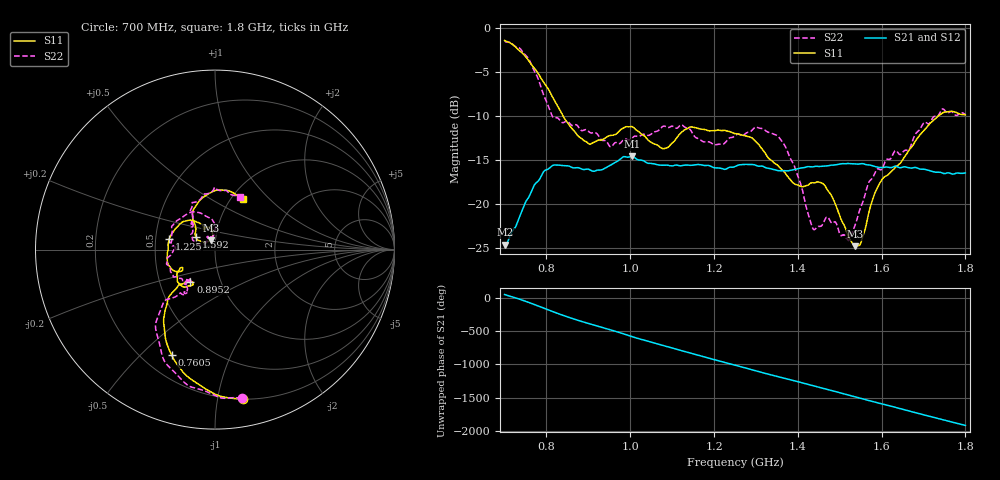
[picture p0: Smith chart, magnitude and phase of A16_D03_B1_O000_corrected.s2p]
! Created with skrf 1.9.0 (http://scikit-rf.org).
# Hz S RI R 50.0
!freq ReS11 ImS11 ReS21 ImS21 ReS12 ImS12 ReS22 ImS22
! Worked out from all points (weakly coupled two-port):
!   1601 points, 700 MHz to 1.8 GHz, reference 50 ohm
!   highest |S21| = -14.57 dB at 1.005 GHz (marker M1); lowest = -24.6 dB at 701.4 MHz (marker M2)
!   lowest |S11| = -24.8 dB at 1.537 GHz (marker M3), VSWR 1.12, Z = 47.4 + j4.99 ohm
!   |S11| at or under -10 dB: 839.6 MHz to 1.735 GHz (895.4 MHz wide, 69.6 % of centre)
!   |S22| runs from -24.1 to -1.5 dB; largest |S21 - S12| = 0.0035
!   S11 on the Smith chart (normalised r, x): 700 MHz: 0.20, -1.19; 760.5 MHz: 0.32, -0.62; 895.2 MHz: 0.72, -0.27; 1.225 GHz: 0.59, +0.08; 1.592 GHz: 0.80, +0.11; 1.8 GHz: 1.13, +0.71
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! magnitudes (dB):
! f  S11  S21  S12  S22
! 700 MHz  -1.4  -24.6  -24.4  -1.5
! 701.4 MHz  -1.5  -24.6  -24.2  -1.5
! 760.5 MHz  -3.9  -18.9  -18.8  -3.8
! 814.8 MHz  -7.9  -15.6  -15.7  -10.1
! 883.6 MHz  -12.5  -16.0  -15.9  -11.6
! 895.2 MHz  -12.9  -16.0  -16.1  -11.6
! 953 MHz  -12.2  -15.6  -15.6  -13.5
! 1.005 GHz  -11.2  -14.6  -14.7  -12.5
! 1.067 GHz  -13.4  -15.5  -15.5  -11.6
! 1.143 GHz  -11.2  -15.6  -15.6  -11.6
! 1.225 GHz  -11.6  -16.0  -16.0  -13.1
! 1.25 GHz  -12.0  -15.7  -15.7  -12.2
! 1.356 GHz  -15.8  -16.2  -16.1  -12.5
! 1.394 GHz  -17.8  -16.0  -16.0  -16.0
! 1.434 GHz  -17.6  -15.8  -15.7  -22.5
! 1.467 GHz  -18.1  -15.7  -15.7  -21.6
! 1.52 GHz  -23.5  -15.4  -15.4  -24.1
! 1.537 GHz  -24.8  -15.4  -15.4  -22.4
! 1.592 GHz  -17.9  -15.8  -15.8  -16.0
! 1.617 GHz  -16.6  -15.8  -15.8  -14.9
! 1.739 GHz  -9.9  -16.4  -16.4  -9.7
! 1.8 GHz  -9.9  -16.5  -16.4  -9.8
